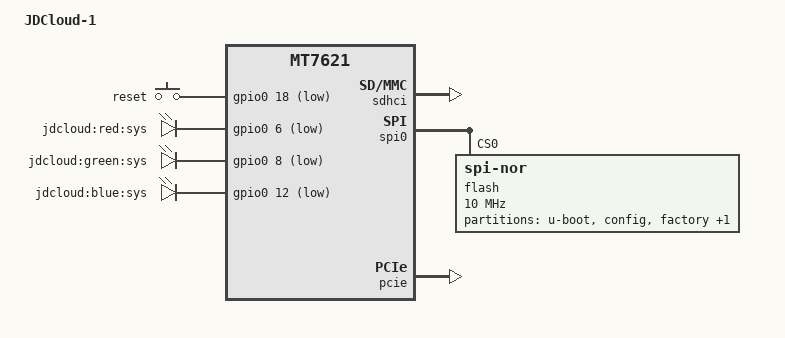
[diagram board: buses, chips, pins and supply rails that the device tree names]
// SPDX-License-Identifier: GPL-2.0-or-later OR MIT
/dts-v1/;

#include "mt7621.dtsi"

#include <dt-bindings/gpio/gpio.h>
#include <dt-bindings/input/input.h>

/ {
	compatible = "jdcloud-1", "mediatek,mt7621-soc";
	model = "JDCloud-1";

	aliases {
		led-boot = &led_red;
		led-failsafe = &led_red;
		led-running = &led_green;
		led-upgrade = &led_blue;
	};

	chosen {
		bootargs = "console=ttyS0,115200";
	};

	keys {
		compatible = "gpio-keys";

		reset {
			label = "reset";
			gpios = <&gpio0 18 GPIO_ACTIVE_LOW>;
			linux,code = <KEY_RESTART>;
		};
	};

	leds {
		compatible = "gpio-leds";

		led_red: red {
			label = "jdcloud:red:sys";
			gpios = <&gpio0 6 GPIO_ACTIVE_LOW>;
			panic-indicator;
		};

		led_green: green {
			label = "jdcloud:green:sys";
			gpios = <&gpio0 8 GPIO_ACTIVE_LOW>;
		};

		led_blue: blue {
			label = "jdcloud:blue:sys";
			gpios = <&gpio0 12 GPIO_ACTIVE_LOW>;
		};
	};
};

&sdhci {
	status = "okay";
};

&spi0 {
	status = "okay";

	flash@0 {
		compatible = "jedec,spi-nor";
		reg = <0>;
		spi-max-frequency = <10000000>;

		partitions {
			compatible = "fixed-partitions";
			#address-cells = <1>;
			#size-cells = <1>;

			partition@0 {
				label = "u-boot";
				reg = <0x0 0x30000>;
			};

			partition@30000 {
				label = "config";
				reg = <0x30000 0x10000>;
			};

			factory: partition@40000 {
				label = "factory";
				reg = <0x40000 0x10000>;
			};

			partition@50000 {
				compatible = "denx,uimage";
				label = "firmware";
				reg = <0x50000 0x1fb0000>;
			};
		};
	};
};

&pcie {
	status = "okay";
};

&pcie0 {
	wifi@0,0 {
		reg = <0x0000 0 0 0 0>;
		mediatek,mtd-eeprom = <&factory 0x0>;
	};
};

&pcie1 {
	wifi@0,0 {
		reg = <0x0000 0 0 0 0>;
		mediatek,mtd-eeprom = <&factory 0x8000>;
		ieee80211-freq-limit = <5000000 6000000>;
	};
};

&ethernet {
	mtd-mac-address = <&factory 0xe000>;
};

&pinctrl {
	state_default: pinctrl0 {
		gpio {
			ralink,group = "uart2", "uart3", "wdt";
			ralink,function = "gpio";
		};
	};
};
